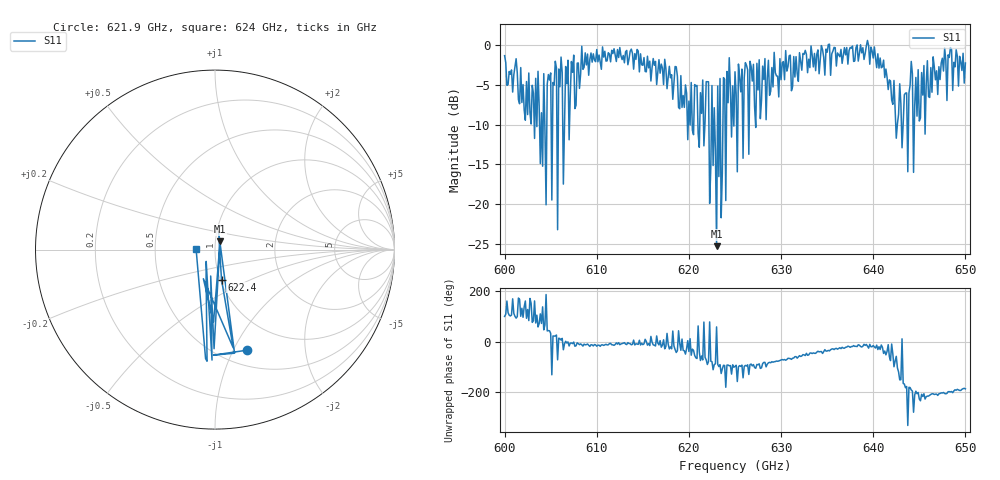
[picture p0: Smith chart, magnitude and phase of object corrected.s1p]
!Created with skrf (http://scikit-rf.org).
# GHz S MA R 50.0
!freq magS11 angS11
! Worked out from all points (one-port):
!   401 points, 600 GHz to 650 GHz, reference 50 ohm
!   lowest |S11| = -25.3 dB at 623 GHz (marker M1), VSWR 1.12, Z = 52.7 + j4.92 ohm
!   |S11| at or under -10 dB: 604.364 GHz to 604.583 GHz (219 MHz wide, 0.0362 % of centre); 606.3083 GHz to 606.5034 GHz (195 MHz wide, 0.0322 % of centre); 620.3599 GHz to 620.5252 GHz (165.4 MHz wide, 0.0267 % of centre) (the widest 3 of 31)
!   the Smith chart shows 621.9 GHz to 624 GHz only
!   S11 on the Smith chart (normalised r, x): 621.9 GHz: 0.66, -1.13; 622.4 GHz: 1.01, -0.35; 624 GHz: 0.81, +0.00
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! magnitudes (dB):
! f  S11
! 600 GHz  -1.3
! 603.4 GHz  -4.2
! 604.2 GHz  -3.6
! 604.8 GHz  -3.7
! 606.2 GHz  -3.5
! 608.6 GHz  -2.8
! 612.5 GHz  -0.3
! 618.8 GHz  -3.9
! 620.1 GHz  -10.1
! 621.9 GHz  -4.6
! 622.4 GHz  -15.4
! 623 GHz  -25.3
! 623.2 GHz  -16.5
! 623.6 GHz  -16.1
! 623.8 GHz  -4.1
! 624 GHz  -19.5
! 624.4 GHz  -1.6
! 625 GHz  -3.4
! 626.9 GHz  -4.5
! 627.5 GHz  -5.7
! 630.8 GHz  -2.7
! 631.2 GHz  -5.2
! 637.5 GHz  -0.3
! 640 GHz  -1.6
! 642.5 GHz  -11.7
! 643.8 GHz  -15.9
! 647.6 GHz  -3.3
! 650 GHz  -2.3
